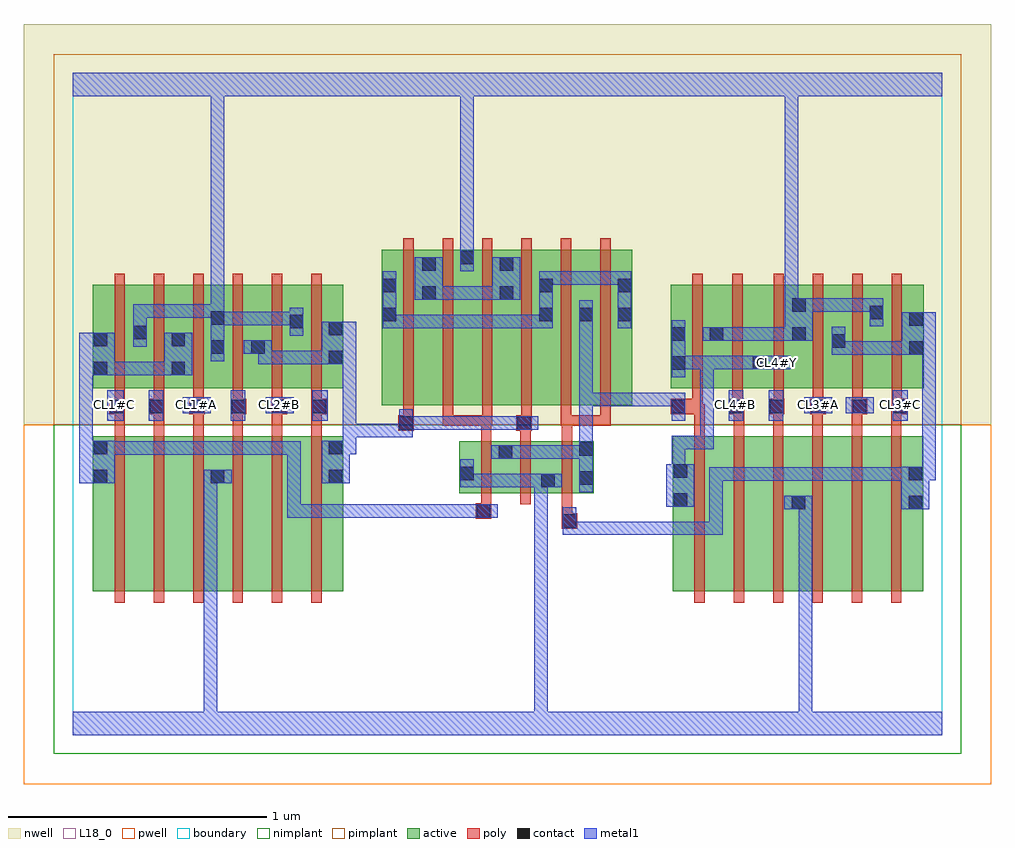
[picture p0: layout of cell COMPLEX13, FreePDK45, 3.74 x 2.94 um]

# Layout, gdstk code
import gdstk
lib = gdstk.Library(unit=1e-6, precision=1e-09)
def R(c, l, rs):  # rectangles x0, y0, x1, y1
    for r in rs: c.add(gdstk.rectangle(r[:2], r[2:], *l))
def A(c, l, x, y, w, h, nx, ny, dx, dy):  # array of equal rectangles
    R(c, l, [(x+i*dx, y+j*dy, x+i*dx+w, y+j*dy+h) for i in range(nx) for j in range(ny)])
active = (1, 0)
pwell = (2, 0)
nwell = (3, 0)
nimplant = (4, 0)
pimplant = (5, 0)
poly = (9, 0)
contact = (10, 0)
metal1 = (11, 0)
L18_0 = (18, 0)
boundary = (235, 0)

complex13 = lib.new_cell('COMPLEX13')
R(complex13, active, [(0.078,0.556,0.138,1.156), (0.078,0.556,0.258,1.156), (0.258,0.556,0.41,1.156), (0.41,0.556,0.59,1.156), (0.53,0.556,0.59,1.156), (0.53,0.556,0.714,1.156), (0.714,0.556,0.866,1.156), (0.866,0.556,1.046,1.156), (0.986,0.556,1.046,1.156), (2.318,0.556,2.378,1.156), (2.318,0.556,2.498,1.156), (2.498,0.556,2.65,1.156), (2.65,0.556,2.834,1.156), (2.774,0.556,2.954,1.156), (2.774,0.556,2.834,0.93), (2.954,0.556,3.106,1.156), (3.106,0.556,3.286,1.156), (3.226,0.556,3.286,1.156), (1.494,0.936,1.702,1.136), (1.642,0.936,1.866,1.136), (1.806,0.936,2.014,1.136), (1.954,0.936,2.014,1.136), (1.806,0.954,1.866,1.014), (1.494,0.956,1.554,1.136), (1.642,0.956,1.702,1.124), (1.194,1.276,1.254,1.844), (1.194,1.276,1.406,1.876), (1.346,1.276,1.554,1.876), (1.494,1.276,1.706,1.876), (1.646,1.276,1.858,1.876), (1.798,1.276,2.014,1.876), (1.954,1.276,2.162,1.876), (1.954,1.276,2.014,1.874), (2.102,1.276,2.162,1.844), (0.078,1.34,0.138,1.644), (0.078,1.34,0.29,1.74), (0.23,1.34,0.438,1.74), (0.378,1.34,0.59,1.74), (0.53,1.34,0.746,1.74), (0.686,1.34,0.894,1.74), (0.834,1.34,1.046,1.74), (0.986,1.34,1.046,1.644), (2.31,1.34,2.37,1.644), (2.31,1.34,2.518,1.74), (2.458,1.34,2.684,1.74), (2.624,1.34,2.836,1.74), (2.776,1.34,2.988,1.74), (2.776,1.34,2.836,1.74), (2.928,1.34,3.136,1.74), (3.076,1.34,3.288,1.74), (3.076,1.34,3.136,1.74), (3.228,1.34,3.288,1.644), (0.378,1.388,0.438,1.644), (1.346,1.394,1.406,1.876), (1.646,1.394,1.706,1.876), (2.624,1.41,2.684,1.644), (0.53,1.47,0.59,1.644), (0.686,1.47,0.746,1.644), (2.928,1.494,2.988,1.644), (1.494,1.504,1.554,1.876), (2.458,1.52,2.518,1.644), (0.23,1.526,0.29,1.644), (0.834,1.568,0.894,1.644), (1.798,1.596,1.858,1.844)])
R(complex13, pwell, [(-0.188,-0.188,3.548,1.2)])
R(complex13, nwell, [(-0.188,1.2,3.548,2.748)])
R(complex13, nimplant, [(-0.072,-0.072,3.432,1.2)])
R(complex13, pimplant, [(-0.072,1.2,3.432,2.632)])
A(complex13, poly, 0.162, 0.512, 0.04, 0.688, 6, 1, 0.152, 0)
A(complex13, poly, 2.402, 0.512, 0.04, 0.688, 6, 1, 0.152, 0)
A(complex13, poly, 0.162, 1.16, 0.04, 0.12, 6, 1, 0.152, 0)
A(complex13, poly, 2.402, 1.16, 0.04, 0.12, 6, 1, 0.152, 0)
A(complex13, poly, 1.278, 1.196, 0.04, 0.076, 6, 1, 0.152, 0)
A(complex13, poly, 1.278, 1.232, 0.04, 0.688, 6, 1, 0.152, 0)
A(complex13, poly, 0.45, 1.24, 0.06, 0.06, 3, 1, 0.16, 0)
A(complex13, poly, 2.69, 1.24, 0.06, 0.06, 3, 1, 0.16, 0)
A(complex13, poly, 0.162, 1.26, 0.04, 0.076, 6, 1, 0.152, 0)
A(complex13, poly, 2.708, 1.26, 0.04, 0.076, 4, 1, 0.152, 0)
A(complex13, poly, 0.162, 1.296, 0.04, 0.488, 6, 1, 0.152, 0)
A(complex13, poly, 2.708, 1.296, 0.04, 0.488, 4, 1, 0.152, 0)
R(complex13, poly, [(1.89,0.798,1.95,0.858), (1.89,0.818,1.93,0.932), (1.558,0.836,1.618,0.896), (1.578,0.856,1.618,0.932), (1.578,0.892,1.618,1.18), (1.73,0.892,1.77,1.18), (1.89,0.892,1.93,1.18), (1.578,1.14,1.618,1.236), (1.73,1.14,1.77,1.216), (1.89,1.14,1.93,1.236), (1.258,1.176,1.318,1.236), (1.714,1.176,1.774,1.236), (1.73,1.176,1.77,1.216), (1.73,1.176,1.77,1.216), (1.43,1.196,1.47,1.236), (1.43,1.196,1.618,1.236), (1.578,1.196,1.618,1.236), (1.578,1.196,1.618,1.236), (1.578,1.196,1.618,1.236), (1.578,1.196,1.618,1.236), (1.578,1.196,1.622,1.236), (1.886,1.196,1.93,1.236), (1.89,1.196,1.93,1.236), (1.89,1.196,1.93,1.236), (1.89,1.196,2.078,1.236), (2.038,1.196,2.078,1.236), (2.038,1.196,2.078,1.236), (2.038,1.196,2.078,1.236), (0.142,1.24,0.202,1.3), (0.162,1.24,0.202,1.28), (0.162,1.24,0.202,1.28), (0.294,1.24,0.354,1.3), (0.314,1.24,0.354,1.28), (0.314,1.24,0.354,1.28), (0.466,1.24,0.506,1.28), (0.466,1.24,0.506,1.28), (0.618,1.24,0.658,1.28), (0.618,1.24,0.658,1.28), (0.77,1.24,0.81,1.28), (0.77,1.24,0.81,1.28), (0.922,1.24,0.962,1.28), (0.922,1.24,0.962,1.28), (0.922,1.24,0.982,1.3), (2.31,1.24,2.434,1.3), (2.394,1.24,2.434,1.28), (2.394,1.24,2.442,1.28), (2.534,1.24,2.594,1.3), (2.858,1.24,2.898,1.28), (2.858,1.24,2.898,1.28), (3.162,1.24,3.204,1.28), (3.164,1.24,3.204,1.28), (3.164,1.24,3.224,1.3), (2.394,1.26,2.434,1.336), (2.548,1.26,2.588,1.336), (2.548,1.26,2.588,1.3), (2.548,1.26,2.588,1.3), (2.708,1.26,2.748,1.3), (2.708,1.26,2.748,1.3), (3.012,1.26,3.052,1.3), (3.012,1.26,3.052,1.3), (2.394,1.296,2.434,1.784), (2.548,1.296,2.588,1.784)])
A(complex13, contact, 0.454, 1.244, 0.052, 0.052, 3, 1, 0.16, 0)
A(complex13, contact, 2.694, 1.244, 0.052, 0.052, 3, 1, 0.16, 0)
R(complex13, contact, [(1.894,0.802,1.946,0.854), (1.562,0.84,1.614,0.892), (2.778,0.874,2.83,0.926), (3.23,0.874,3.282,0.926), (2.322,0.884,2.374,0.936), (1.81,0.958,1.862,1.01), (1.958,0.968,2.01,1.02), (0.082,0.974,0.134,1.026), (0.534,0.974,0.586,1.026), (0.99,0.974,1.042,1.026), (1.498,0.986,1.55,1.038), (3.23,0.986,3.282,1.038), (2.322,0.996,2.374,1.048), (1.646,1.068,1.698,1.12), (1.958,1.08,2.01,1.132), (0.082,1.086,0.134,1.138), (0.99,1.086,1.042,1.138), (1.262,1.18,1.314,1.232), (1.718,1.18,1.77,1.232), (0.146,1.244,0.198,1.296), (0.298,1.244,0.35,1.296), (0.926,1.244,0.978,1.296), (2.314,1.244,2.366,1.296), (2.538,1.244,2.59,1.296), (3.168,1.244,3.22,1.296), (0.082,1.392,0.134,1.444), (0.382,1.392,0.434,1.444), (2.314,1.412,2.366,1.464), (2.628,1.414,2.68,1.466), (0.99,1.434,1.042,1.486), (3.232,1.47,3.284,1.522), (0.534,1.474,0.586,1.526), (0.69,1.474,0.742,1.526), (2.932,1.498,2.984,1.55), (0.082,1.504,0.134,1.556), (0.382,1.504,0.434,1.556), (2.314,1.524,2.366,1.576), (2.462,1.524,2.514,1.576), (2.78,1.524,2.832,1.576), (0.234,1.53,0.286,1.582), (0.99,1.546,1.042,1.598), (0.838,1.572,0.89,1.624), (3.232,1.582,3.284,1.634), (0.534,1.586,0.586,1.638), (1.198,1.6,1.25,1.652), (1.802,1.6,1.854,1.652), (1.958,1.6,2.01,1.652), (2.106,1.6,2.158,1.652), (3.08,1.608,3.132,1.66), (2.78,1.636,2.832,1.688), (1.35,1.682,1.402,1.734), (1.65,1.682,1.702,1.734), (1.198,1.712,1.25,1.764), (1.802,1.712,1.854,1.764), (2.106,1.712,2.158,1.764), (1.35,1.794,1.402,1.846), (1.65,1.794,1.702,1.846), (1.498,1.82,1.55,1.872)])
R(complex13, metal1, [(0,0,3.36,0.092), (0.506,0.04,0.558,0.092), (0.506,0.04,0.558,0.092), (0.506,0.04,0.558,0.092), (0.506,0.04,0.558,0.092), (0.506,0.04,0.558,0.092), (0.506,0.04,0.558,0.092), (0.506,0.04,0.558,1.026), (1.784,0.04,1.836,0.092), (1.784,0.04,1.836,0.092), (1.784,0.04,1.836,1.01), (2.806,0.04,2.858,0.926), (1.894,0.774,1.946,0.882), (1.894,0.774,2.048,0.826), (1.996,0.774,2.048,0.826), (1.996,0.774,2.236,0.826), (2.184,0.774,2.236,0.826), (2.184,0.774,2.236,0.826), (2.184,0.774,2.236,0.826), (2.184,0.774,2.346,0.826), (2.294,0.774,2.346,0.826), (2.294,0.774,2.402,0.826), (2.35,0.774,2.402,0.826), (2.35,0.774,2.512,0.826), (2.46,0.774,2.512,0.826), (2.46,0.774,2.512,0.826), (2.46,0.774,2.512,0.826), (2.46,0.774,2.512,1.036), (0.83,0.84,0.882,0.892), (0.83,0.84,0.882,0.892), (0.83,0.84,0.882,0.892), (0.83,0.84,1.14,0.892), (0.83,0.84,0.882,1.136), (1.088,0.84,1.14,0.892), (1.088,0.84,1.14,0.892), (1.088,0.84,1.14,0.892), (1.088,0.84,1.14,0.892), (1.088,0.84,1.14,0.892), (1.088,0.84,1.314,0.892), (1.262,0.84,1.314,0.892), (1.262,0.84,1.424,0.892), (1.372,0.84,1.424,0.892), (1.372,0.84,1.424,0.892), (1.372,0.84,1.424,0.892), (1.372,0.84,1.56,0.892), (1.508,0.84,1.56,0.892), (1.508,0.84,1.586,0.892), (1.534,0.84,1.642,0.892), (2.75,0.874,2.858,0.926), (2.806,0.874,2.858,0.926), (2.806,0.874,2.858,0.926), (2.806,0.874,2.858,0.926), (2.806,0.874,2.858,0.926), (2.806,0.874,2.858,0.926), (2.806,0.874,2.858,0.926), (2.806,0.874,2.858,0.926), (2.806,0.874,2.858,0.926), (3.202,0.874,3.31,1.038), (2.294,0.884,2.402,1.048), (1.958,0.94,2.01,1.16), (1.498,0.958,1.55,1.01), (1.498,0.958,1.55,1.01), (1.498,0.958,1.55,1.066), (1.498,0.958,1.692,1.01), (1.64,0.958,1.692,1.01), (1.64,0.958,1.692,1.01), (1.64,0.958,1.692,1.01), (1.64,0.958,1.834,1.01), (1.782,0.958,1.89,1.01), (1.784,0.958,1.836,1.01), (1.784,0.958,1.836,1.01), (1.784,0.958,1.836,1.01), (1.784,0.958,1.836,1.01), (1.784,0.958,1.836,1.01), (1.784,0.958,1.836,1.01), (1.784,0.958,1.836,1.01), (1.784,0.958,1.836,1.01), (1.784,0.958,1.836,1.01), (1.784,0.958,1.836,1.01), (1.784,0.958,1.836,1.01), (1.784,0.958,1.836,1.01), (1.784,0.958,1.836,1.01), (1.784,0.958,1.836,1.01), (0.026,0.974,0.162,1.138), (0.506,0.974,0.558,1.026), (0.506,0.974,0.558,1.026), (0.506,0.974,0.614,1.026), (0.962,0.974,1.07,1.138), (2.46,0.984,2.512,1.036), (2.46,0.984,2.512,1.036), (2.46,0.984,2.512,1.036), (2.46,0.984,2.692,1.036), (2.64,0.984,2.692,1.036), (2.64,0.984,2.692,1.036), (2.64,0.984,2.692,1.036), (2.64,0.984,2.874,1.036), (2.822,0.984,2.874,1.036), (2.822,0.984,2.874,1.036), (2.822,0.984,2.874,1.036), (2.822,0.984,2.984,1.036), (2.932,0.984,2.984,1.036), (2.932,0.984,3.11,1.036), (3.058,0.984,3.11,1.036), (3.058,0.984,3.11,1.036), (3.058,0.984,3.11,1.036), (3.058,0.984,3.254,1.036), (3.202,0.984,3.254,1.036), (3.202,0.984,3.254,1.036), (3.258,0.986,3.31,1.038), (3.258,0.986,3.334,1.038), (3.282,0.986,3.334,1.522), (2.314,0.996,2.366,1.158), (1.618,1.068,1.726,1.12), (1.674,1.068,1.836,1.12), (1.784,1.068,1.836,1.12), (1.784,1.068,1.836,1.12), (1.784,1.068,1.836,1.12), (1.784,1.068,2.01,1.12), (1.958,1.068,2.01,1.12), (1.958,1.068,2.01,1.12), (0.11,1.084,0.162,1.136), (0.11,1.084,0.162,1.136), (0.11,1.084,0.296,1.136), (0.244,1.084,0.296,1.136), (0.244,1.084,0.296,1.136), (0.244,1.084,0.296,1.136), (0.244,1.084,0.408,1.136), (0.356,1.084,0.408,1.136), (0.356,1.084,0.408,1.136), (0.356,1.084,0.408,1.136), (0.356,1.084,0.558,1.136), (0.506,1.084,0.558,1.136), (0.506,1.084,0.558,1.136), (0.506,1.084,0.558,1.136), (0.506,1.084,0.696,1.136), (0.644,1.084,0.696,1.136), (0.644,1.084,0.696,1.136), (0.644,1.084,0.696,1.136), (0.644,1.084,0.882,1.136), (0.83,1.084,0.882,1.136), (0.026,1.086,0.078,1.444), (1.018,1.086,1.07,1.138), (1.018,1.086,1.096,1.138), (1.044,1.086,1.096,1.204), (2.314,1.106,2.366,1.158), (2.314,1.106,2.366,1.158), (2.314,1.106,2.366,1.158), (2.314,1.106,2.476,1.158), (2.424,1.106,2.476,1.158), (2.424,1.106,2.476,1.466), (1.958,1.108,2.01,1.16), (1.958,1.108,2.01,1.16), (1.958,1.108,2.01,1.324), (1.044,1.152,1.096,1.204), (1.044,1.152,1.124,1.204), (1.044,1.152,1.096,1.486), (1.072,1.152,1.124,1.204), (1.072,1.152,1.314,1.204), (1.262,1.152,1.314,1.26), (1.262,1.18,1.44,1.232), (1.388,1.18,1.44,1.232), (1.388,1.18,1.44,1.232), (1.388,1.18,1.44,1.232), (1.388,1.18,1.55,1.232), (1.498,1.18,1.55,1.232), (1.498,1.18,1.55,1.232), (1.498,1.18,1.55,1.232), (1.498,1.18,1.724,1.232), (1.672,1.18,1.724,1.232), (1.672,1.18,1.742,1.232), (1.69,1.18,1.798,1.232), (0.134,1.216,0.198,1.334), (0.294,1.216,0.35,1.334), (0.61,1.216,0.666,1.334), (0.926,1.216,0.986,1.334), (2.314,1.216,2.366,1.324), (2.534,1.216,2.59,1.334), (2.69,1.216,2.746,1.334), (3.168,1.216,3.226,1.334), (0.426,1.244,0.534,1.306), (0.746,1.244,0.854,1.306), (2.826,1.244,2.934,1.306), (2.986,1.244,3.094,1.306), (1.958,1.272,2.01,1.324), (1.958,1.272,2.158,1.324), (1.958,1.272,2.01,1.624), (2.106,1.272,2.158,1.324), (2.106,1.272,2.158,1.324), (2.106,1.272,2.158,1.324), (2.106,1.272,2.366,1.324), (2.314,1.272,2.366,1.324), (2.314,1.272,2.366,1.324), (2.314,1.384,2.366,1.604), (0.026,1.392,0.078,1.444), (0.026,1.392,0.078,1.444), (0.026,1.392,0.078,1.444), (0.026,1.392,0.078,1.444), (0.026,1.392,0.162,1.556), (0.11,1.392,0.162,1.444), (0.11,1.392,0.162,1.444), (0.11,1.392,0.296,1.444), (0.244,1.392,0.296,1.444), (0.244,1.392,0.296,1.444), (0.244,1.392,0.296,1.444), (0.244,1.392,0.406,1.444), (0.354,1.392,0.462,1.556), (2.314,1.414,2.366,1.466), (2.314,1.414,2.366,1.466), (2.314,1.414,2.476,1.466), (2.424,1.414,2.476,1.466), (2.424,1.414,2.476,1.466), (2.424,1.414,2.476,1.466), (2.424,1.414,2.476,1.466), (2.424,1.414,2.476,1.466), (2.424,1.414,2.582,1.466), (2.53,1.414,2.582,1.466), (2.53,1.414,2.652,1.466), (2.6,1.414,2.774,1.466), (0.718,1.434,0.904,1.486), (0.718,1.434,0.77,1.526), (0.852,1.434,0.904,1.486), (0.852,1.434,1.014,1.486), (0.962,1.434,1.014,1.486), (0.962,1.434,1.014,1.486), (0.962,1.434,1.096,1.598), (0.534,1.446,0.586,1.666), (2.932,1.47,2.984,1.578), (2.932,1.47,3.11,1.522), (3.058,1.47,3.11,1.522), (3.058,1.47,3.11,1.522), (3.058,1.47,3.11,1.522), (3.058,1.47,3.256,1.522), (3.204,1.47,3.256,1.522), (3.204,1.47,3.256,1.522), (3.204,1.47,3.334,1.634), (3.282,1.47,3.334,1.522), (3.282,1.47,3.334,1.522), (0.662,1.474,0.77,1.526), (0.718,1.474,0.77,1.526), (0.234,1.502,0.286,1.61), (2.434,1.524,2.542,1.576), (2.49,1.524,2.582,1.576), (2.53,1.524,2.582,1.576), (2.53,1.524,2.652,1.576), (2.6,1.524,2.652,1.576), (2.6,1.524,2.692,1.576), (2.64,1.524,2.692,1.576), (2.64,1.524,2.804,1.576), (2.752,1.524,2.804,1.576), (2.752,1.524,2.804,1.576), (2.752,1.524,2.86,1.688), (0.838,1.544,0.89,1.652), (0.234,1.558,0.286,1.61), (0.234,1.558,0.286,1.666), (1.198,1.572,1.25,1.624), (1.198,1.572,1.25,1.624), (1.198,1.572,1.25,1.792), (1.198,1.572,1.44,1.624), (1.388,1.572,1.44,1.624), (1.388,1.572,1.44,1.624), (1.388,1.572,1.44,1.624), (1.388,1.572,1.55,1.624), (1.498,1.572,1.55,1.624), (1.498,1.572,1.55,1.624), (1.498,1.572,1.55,1.624), (1.498,1.572,1.67,1.624), (1.618,1.572,1.67,1.624), (1.618,1.572,1.67,1.624), (1.618,1.572,1.67,1.624), (1.618,1.572,1.854,1.624), (1.802,1.572,1.854,1.792), (1.958,1.572,2.01,1.68), (2.106,1.572,2.158,1.792), (3.08,1.58,3.132,1.688), (0.534,1.584,0.586,1.636), (0.534,1.584,0.586,1.636), (0.534,1.584,0.772,1.636), (0.72,1.584,0.772,1.636), (0.72,1.584,0.772,1.636), (0.72,1.584,0.772,1.636), (0.72,1.584,0.89,1.636), (0.234,1.614,0.448,1.666), (0.396,1.614,0.448,1.666), (0.396,1.614,0.448,1.666), (0.396,1.614,0.448,1.666), (0.396,1.614,0.586,1.666), (0.534,1.614,0.586,1.666), (0.534,1.614,0.586,1.666), (0.534,1.614,0.586,1.666), (0.534,1.614,0.586,1.666), (0.534,1.614,0.586,2.52), (2.752,1.636,2.804,1.688), (2.752,1.636,2.804,1.688), (2.752,1.636,2.804,2.52), (2.808,1.636,2.86,1.688), (2.808,1.636,2.86,1.688), (2.808,1.636,3,1.688), (2.948,1.636,3,1.688), (2.948,1.636,3,1.688), (2.948,1.636,3,1.688), (2.948,1.636,3.132,1.688), (1.322,1.682,1.43,1.846), (1.378,1.682,1.43,1.734), (1.378,1.682,1.43,1.734), (1.378,1.682,1.56,1.734), (1.508,1.682,1.56,1.734), (1.508,1.682,1.56,1.734), (1.508,1.682,1.56,1.734), (1.508,1.682,1.674,1.734), (1.622,1.682,1.73,1.846), (1.802,1.74,1.854,1.792), (1.802,1.74,1.854,1.792), (1.802,1.74,2.048,1.792), (1.996,1.74,2.048,1.792), (1.996,1.74,2.048,1.792), (1.996,1.74,2.048,1.792), (1.996,1.74,2.158,1.792), (2.106,1.74,2.158,1.792), (2.106,1.74,2.158,1.792), (1.498,1.792,1.55,1.9), (1.498,1.848,1.55,2.52), (0,2.468,3.36,2.56), (0.534,2.468,0.586,2.52), (0.534,2.468,0.586,2.52), (0.534,2.468,0.586,2.52), (0.534,2.468,0.586,2.52), (0.534,2.468,0.586,2.52), (0.534,2.468,0.586,2.52), (0.534,2.468,0.586,2.52), (0.534,2.468,0.586,2.52), (0.534,2.468,0.586,2.52), (0.534,2.468,0.586,2.52), (0.534,2.468,0.586,2.52), (0.534,2.468,0.586,2.52), (1.498,2.468,1.55,2.52), (1.498,2.468,1.55,2.52), (1.498,2.468,1.55,2.52), (1.498,2.468,1.55,2.52), (1.498,2.468,1.55,2.52), (1.498,2.468,1.55,2.52), (1.498,2.468,1.55,2.52), (1.498,2.468,1.55,2.52), (1.498,2.468,1.55,2.52), (1.498,2.468,1.55,2.52), (1.498,2.468,1.55,2.52), (1.498,2.468,1.55,2.52), (2.752,2.468,2.804,2.52), (2.752,2.468,2.804,2.52), (2.752,2.468,2.804,2.52), (2.752,2.468,2.804,2.52), (2.752,2.468,2.804,2.52), (2.752,2.468,2.804,2.52), (2.752,2.468,2.804,2.52), (2.752,2.468,2.804,2.52), (2.752,2.468,2.804,2.52), (2.752,2.468,2.804,2.52), (2.752,2.468,2.804,2.52), (2.752,2.468,2.804,2.52), (2.752,2.468,2.804,2.52), (2.752,2.468,2.804,2.52)])
A(complex13, L18_0, 0.134, 1.254, 0.052, 0.052, 6, 1, 0.16, 0)
A(complex13, L18_0, 2.534, 1.254, 0.052, 0.052, 5, 1, 0.16, 0)
R(complex13, L18_0, [(0,0,3.36,0.092), (0.506,0.04,0.558,0.092), (0.506,0.04,0.558,0.092), (0.506,0.04,0.558,0.092), (0.506,0.04,0.558,0.092), (0.506,0.04,0.558,0.092), (0.506,0.04,0.558,0.092), (0.506,0.04,0.558,1.026), (1.784,0.04,1.836,0.092), (1.784,0.04,1.836,0.092), (1.784,0.04,1.836,1.01), (2.806,0.04,2.858,0.926), (2.75,0.874,2.858,0.926), (2.806,0.874,2.858,0.926), (2.806,0.874,2.858,0.926), (2.806,0.874,2.858,0.926), (2.806,0.874,2.858,0.926), (2.806,0.874,2.858,0.926), (2.806,0.874,2.858,0.926), (2.806,0.874,2.858,0.926), (2.806,0.874,2.858,0.926), (2.294,0.884,2.402,1.048), (1.498,0.958,1.55,1.066), (1.498,0.958,1.55,1.01), (1.498,0.958,1.55,1.01), (1.498,0.958,1.692,1.01), (1.64,0.958,1.692,1.01), (1.64,0.958,1.692,1.01), (1.64,0.958,1.692,1.01), (1.64,0.958,1.834,1.01), (1.782,0.958,1.89,1.01), (1.784,0.958,1.836,1.01), (1.784,0.958,1.836,1.01), (1.784,0.958,1.836,1.01), (1.784,0.958,1.836,1.01), (1.784,0.958,1.836,1.01), (1.784,0.958,1.836,1.01), (1.784,0.958,1.836,1.01), (1.784,0.958,1.836,1.01), (1.784,0.958,1.836,1.01), (1.784,0.958,1.836,1.01), (1.784,0.958,1.836,1.01), (1.784,0.958,1.836,1.01), (1.784,0.958,1.836,1.01), (1.784,0.958,1.836,1.01), (0.506,0.974,0.558,1.026), (0.506,0.974,0.558,1.026), (0.506,0.974,0.614,1.026), (2.314,0.996,2.366,1.158), (2.314,1.106,2.366,1.158), (2.314,1.106,2.366,1.158), (2.314,1.106,2.366,1.158), (2.314,1.106,2.476,1.158), (2.424,1.106,2.476,1.158), (2.424,1.106,2.476,1.466), (0.134,1.216,0.198,1.334), (0.294,1.216,0.35,1.334), (0.61,1.216,0.666,1.334), (0.926,1.216,0.986,1.334), (2.534,1.216,2.59,1.334), (2.69,1.216,2.746,1.334), (3.168,1.216,3.226,1.334), (0.426,1.244,0.534,1.306), (0.746,1.244,0.854,1.306), (2.826,1.244,2.934,1.306), (2.986,1.244,3.094,1.306), (2.314,1.384,2.366,1.604), (2.314,1.414,2.366,1.466), (2.314,1.414,2.366,1.466), (2.314,1.414,2.476,1.466), (2.424,1.414,2.476,1.466), (2.424,1.414,2.476,1.466), (2.424,1.414,2.476,1.466), (2.424,1.414,2.476,1.466), (2.424,1.414,2.476,1.466), (2.424,1.414,2.582,1.466), (2.53,1.414,2.582,1.466), (2.53,1.414,2.652,1.466), (2.6,1.414,2.774,1.466), (2.694,1.414,2.746,1.466), (0.534,1.446,0.586,1.666), (0.234,1.502,0.286,1.61), (2.434,1.524,2.542,1.576), (2.49,1.524,2.582,1.576), (2.53,1.524,2.582,1.576), (2.53,1.524,2.652,1.576), (2.6,1.524,2.652,1.576), (2.6,1.524,2.692,1.576), (2.64,1.524,2.692,1.576), (2.64,1.524,2.804,1.576), (2.752,1.524,2.804,1.576), (2.752,1.524,2.804,1.576), (2.752,1.524,2.86,1.688), (0.838,1.544,0.89,1.652), (0.234,1.558,0.286,1.666), (0.234,1.558,0.286,1.61), (3.08,1.58,3.132,1.688), (0.534,1.584,0.586,1.636), (0.534,1.584,0.586,1.636), (0.534,1.584,0.772,1.636), (0.72,1.584,0.772,1.636), (0.72,1.584,0.772,1.636), (0.72,1.584,0.772,1.636), (0.72,1.584,0.89,1.636), (0.234,1.614,0.448,1.666), (0.396,1.614,0.448,1.666), (0.396,1.614,0.448,1.666), (0.396,1.614,0.448,1.666), (0.396,1.614,0.586,1.666), (0.534,1.614,0.586,1.666), (0.534,1.614,0.586,1.666), (0.534,1.614,0.586,1.666), (0.534,1.614,0.586,1.666), (0.534,1.614,0.586,2.52), (2.752,1.636,2.804,1.688), (2.752,1.636,2.804,1.688), (2.752,1.636,2.804,2.52), (2.808,1.636,2.86,1.688), (2.808,1.636,2.86,1.688), (2.808,1.636,3,1.688), (2.948,1.636,3,1.688), (2.948,1.636,3,1.688), (2.948,1.636,3,1.688), (2.948,1.636,3.132,1.688), (1.498,1.792,1.55,1.9), (1.498,1.848,1.55,2.52), (0,2.468,3.36,2.56), (0.534,2.468,0.586,2.52), (0.534,2.468,0.586,2.52), (0.534,2.468,0.586,2.52), (0.534,2.468,0.586,2.52), (0.534,2.468,0.586,2.52), (0.534,2.468,0.586,2.52), (0.534,2.468,0.586,2.52), (0.534,2.468,0.586,2.52), (0.534,2.468,0.586,2.52), (0.534,2.468,0.586,2.52), (0.534,2.468,0.586,2.52), (0.534,2.468,0.586,2.52), (1.498,2.468,1.55,2.52), (1.498,2.468,1.55,2.52), (1.498,2.468,1.55,2.52), (1.498,2.468,1.55,2.52), (1.498,2.468,1.55,2.52), (1.498,2.468,1.55,2.52), (1.498,2.468,1.55,2.52), (1.498,2.468,1.55,2.52), (1.498,2.468,1.55,2.52), (1.498,2.468,1.55,2.52), (1.498,2.468,1.55,2.52), (1.498,2.468,1.55,2.52), (2.752,2.468,2.804,2.52), (2.752,2.468,2.804,2.52), (2.752,2.468,2.804,2.52), (2.752,2.468,2.804,2.52), (2.752,2.468,2.804,2.52), (2.752,2.468,2.804,2.52), (2.752,2.468,2.804,2.52), (2.752,2.468,2.804,2.52), (2.752,2.468,2.804,2.52), (2.752,2.468,2.804,2.52), (2.752,2.468,2.804,2.52), (2.752,2.468,2.804,2.52), (2.752,2.468,2.804,2.52), (2.752,2.468,2.804,2.52)])
R(complex13, boundary, [(0,0,3.36,2.56)])
complex13.add(gdstk.Label('CL1#A', (0.48,1.28), layer=11, texttype=0))
complex13.add(gdstk.Label('CL1#B', (0.32,1.28), layer=11, texttype=0))
complex13.add(gdstk.Label('CL1#C', (0.16,1.28), layer=11, texttype=0))
complex13.add(gdstk.Label('CL2#A', (0.64,1.28), layer=11, texttype=0))
complex13.add(gdstk.Label('CL2#B', (0.8,1.28), layer=11, texttype=0))
complex13.add(gdstk.Label('CL2#C', (0.96,1.28), layer=11, texttype=0))
complex13.add(gdstk.Label('CL3#A', (2.88,1.28), layer=11, texttype=0))
complex13.add(gdstk.Label('CL3#B', (3.04,1.28), layer=11, texttype=0))
complex13.add(gdstk.Label('CL3#C', (3.2,1.28), layer=11, texttype=0))
complex13.add(gdstk.Label('CL4#A', (2.72,1.28), layer=11, texttype=0))
complex13.add(gdstk.Label('CL4#B', (2.56,1.28), layer=11, texttype=0))
complex13.add(gdstk.Label('CL4#Y', (2.72,1.44), layer=11, texttype=0))

lib.write_gds('COMPLEX13.gds')
